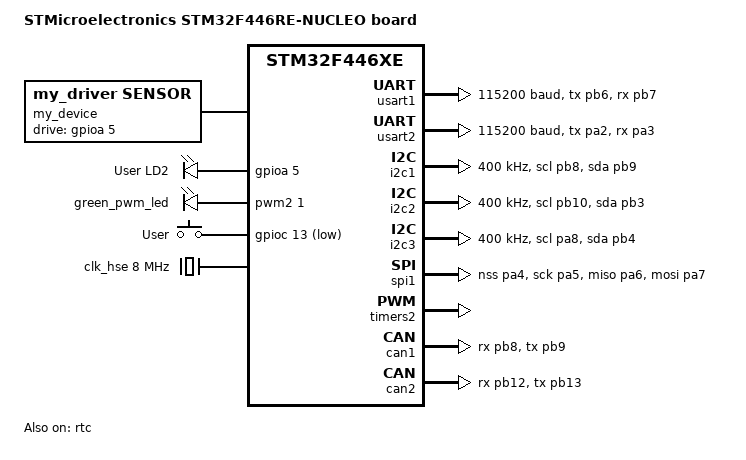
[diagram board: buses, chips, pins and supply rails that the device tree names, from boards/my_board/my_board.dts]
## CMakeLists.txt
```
cmake_minimum_required(VERSION 3.20.0)

list(APPEND BOARD_ROOT ${CMAKE_CURRENT_SOURCE_DIR})
list(APPEND DTS_ROOT ${CMAKE_CURRENT_SOURCE_DIR})

find_package(Zephyr REQUIRED)
project(l4-task1)

target_sources(app PRIVATE src/main.c)
target_sources(app PRIVATE driver/my_driver.c)
add_subdirectory(driver)
```

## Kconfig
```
source "Kconfig.zephyr"

rsource "driver/Kconfig"
```

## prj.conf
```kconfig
CONFIG_GPIO=y
CONFIG_LOG=y
CONFIG_MY_DRIVER=y
```

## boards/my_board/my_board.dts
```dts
/dts-v1/;
#include <st/f4/stm32f446Xe.dtsi>
#include <st/f4/stm32f446r(c-e)tx-pinctrl.dtsi>
#include <zephyr/dt-bindings/input/input-event-codes.h>

/ {
	model = "STMicroelectronics STM32F446RE-NUCLEO board";
	compatible = "st,my_board";

	chosen {
		zephyr,console = &usart2;
		zephyr,shell-uart = &usart2;
		zephyr,sram = &sram0;
		zephyr,flash = &flash0;
		zephyr,canbus = &can2;
	};

	my_device: my_device {
		compatible = "my_driver,sensor";
		status = "okay";
		drive-gpios = <&gpioa 5 GPIO_ACTIVE_HIGH>;
	};

	leds: leds {
		compatible = "gpio-leds";

		green_led_2: led_2 {
			gpios = <&gpioa 5 GPIO_ACTIVE_HIGH>;
			label = "User LD2";
		};
	};

	pwmleds {
		compatible = "pwm-leds";

		green_pwm_led: green_pwm_led {
			pwms = <&pwm2 1 PWM_MSEC(20) PWM_POLARITY_NORMAL>;
		};
	};

	gpio_keys {
		compatible = "gpio-keys";

		user_button: button {
			label = "User";
			gpios = <&gpioc 13 GPIO_ACTIVE_LOW>;
			zephyr,code = <INPUT_KEY_0>;
		};
	};

	aliases {
		led0 = &green_led_2;
		pwm-led0 = &green_pwm_led;
		sw0 = &user_button;
	};
};

&clk_lsi {
	status = "okay";
};

&clk_hse {
	hse-bypass;
	clock-frequency = <DT_FREQ_M(8)>; /* STLink 8MHz clock */
	status = "okay";
};

&pll {
	div-m = <8>;
	mul-n = <384>;
	div-p = <4>;
	div-q = <8>;
	clocks = <&clk_hse>;
	status = "okay";
};

&rcc {
	clocks = <&pll>;
	clock-frequency = <DT_FREQ_M(96)>;
	ahb-prescaler = <1>;
	apb1-prescaler = <2>;
	apb2-prescaler = <1>;
};

&usart1 {
	pinctrl-0 = <&usart1_tx_pb6 &usart1_rx_pb7>;
	pinctrl-names = "default";
	current-speed = <115200>;
	status = "okay";
};

&usart2 {
	pinctrl-0 = <&usart2_tx_pa2 &usart2_rx_pa3>;
	pinctrl-names = "default";
	current-speed = <115200>;
	status = "okay";
};

&i2c1 {
	pinctrl-0 = <&i2c1_scl_pb8 &i2c1_sda_pb9>;
	pinctrl-names = "default";
	status = "okay";
	clock-frequency = <I2C_BITRATE_FAST>;
};

&i2c2 {
	pinctrl-0 = <&i2c2_scl_pb10 &i2c2_sda_pb3>;
	pinctrl-names = "default";
	status = "okay";
	clock-frequency = <I2C_BITRATE_FAST>;
};

&i2c3 {
	pinctrl-0 = <&i2c3_scl_pa8 &i2c3_sda_pb4>;
	pinctrl-names = "default";
	status = "okay";
	clock-frequency = <I2C_BITRATE_FAST>;
};

&spi1 {
	pinctrl-0 = <&spi1_nss_pa4 &spi1_sck_pa5
		     &spi1_miso_pa6 &spi1_mosi_pa7>;
	pinctrl-names = "default";
	status = "okay";
};

&timers2 {
	status = "okay";

	pwm2: pwm {
		status = "okay";
		pinctrl-0 = <&tim2_ch1_pa5>;
		pinctrl-names = "default";
	};
};

&rtc {
	clocks = <&rcc STM32_CLOCK_BUS_APB1 0x10000000>,
		 <&rcc STM32_SRC_LSI RTC_SEL(2)>;
	status = "okay";
};

&backup_sram {
	status = "okay";
};

&can1 {
	/* CAUTION: PB8 and PB9 may conflict with same pins of I2C1 */
	pinctrl-0 = <&can1_rx_pb8 &can1_tx_pb9>;
	pinctrl-names = "default";
	status = "okay";
};

&can2 {
	pinctrl-0 = <&can2_rx_pb12 &can2_tx_pb13>;
	pinctrl-names = "default";
	status = "okay";
};

&flash0 {
	partitions {
		compatible = "fixed-partitions";
		#address-cells = <1>;
		#size-cells = <1>;

		boot_partition: partition@0 {
			label = "mcuboot";
			reg = <0x00000000 DT_SIZE_K(64)>;
			read-only;
		};

		/*
		 * The flash starting at 0x00010000 and ending at
		 * 0x0001ffff (sectors 16-31) is reserved for use
		 * by the application.
		 */
		storage_partition: partition@10000 {
			label = "storage";
			reg = <0x00010000 DT_SIZE_K(64)>;
		};

		slot0_partition: partition@20000 {
			label = "image-0";
			reg = <0x00020000 DT_SIZE_K(128)>;
		};

		slot1_partition: partition@40000 {
			label = "image-1";
			reg = <0x00040000 DT_SIZE_K(128)>;
		};

		scratch_partition: partition@60000 {
			label = "image-scratch";
			reg = <0x00060000 DT_SIZE_K(128)>;
		};
	};
};
```

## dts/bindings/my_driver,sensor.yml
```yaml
description: My Driver
compatible: "my_driver,sensor"
include: base.yaml

properties:
  drive-gpios:
    type: phandle-array
    required: true
    description: GPIO used to drive the sensor
```

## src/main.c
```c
#include <zephyr/kernel.h>
#include <zephyr/device.h>
#include <zephyr/drivers/sensor.h>

#include "my_driver.h"

#define SLEEP_TIME_MS 100

const struct device *dev =
    DEVICE_DT_GET_ONE(my_driver_sensor);

int main(void)
{
    struct sensor_value val;

    if (!device_is_ready(dev))
	{
        return 0;
    }

    sensor_sample_fetch(dev);
    k_sleep(K_SECONDS(1));
    sensor_channel_get(
        dev,
        SENSOR_CHAN_ALL,
        &val);
    k_sleep(K_SECONDS(1));

    while (1)
	{
        my_driver_toggle(dev);
        k_sleep(K_MSEC(SLEEP_TIME_MS));
    }
}
```
